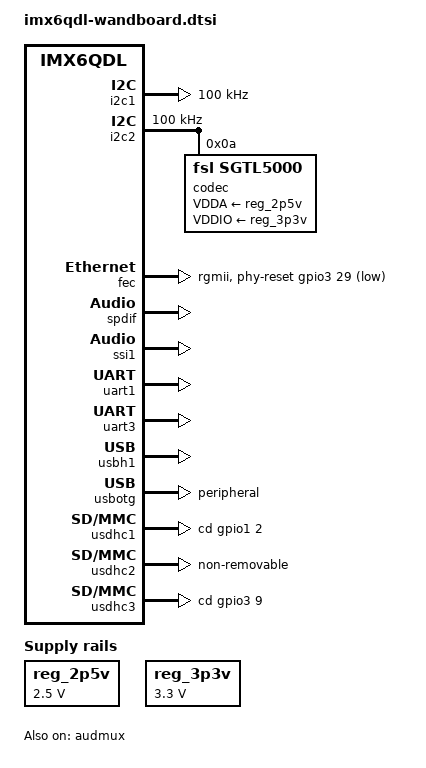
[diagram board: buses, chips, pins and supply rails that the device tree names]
/*
 * Copyright 2013 Freescale Semiconductor, Inc.
 *
 * Author: Fabio Estevam <fabio.estevam@freescale.com>
 *
 * This program is free software; you can redistribute it and/or modify
 * it under the terms of the GNU General Public License version 2 as
 * published by the Free Software Foundation.
 *
 */

/ {
	regulators {
		compatible = "simple-bus";

		reg_2p5v: 2p5v {
			compatible = "regulator-fixed";
			regulator-name = "2P5V";
			regulator-min-microvolt = <2500000>;
			regulator-max-microvolt = <2500000>;
			regulator-always-on;
		};

		reg_3p3v: 3p3v {
			compatible = "regulator-fixed";
			regulator-name = "3P3V";
			regulator-min-microvolt = <3300000>;
			regulator-max-microvolt = <3300000>;
			regulator-always-on;
		};
	};

	sound {
		compatible = "fsl,imx6-wandboard-sgtl5000",
			     "fsl,imx-audio-sgtl5000";
		model = "imx6-wandboard-sgtl5000";
		ssi-controller = <&ssi1>;
		audio-codec = <&codec>;
		audio-routing =
			"MIC_IN", "Mic Jack",
			"Mic Jack", "Mic Bias",
			"Headphone Jack", "HP_OUT";
		mux-int-port = <1>;
		mux-ext-port = <3>;
	};

	sound-spdif {
		compatible = "fsl,imx-audio-spdif";
		model = "imx-spdif";
		spdif-controller = <&spdif>;
		spdif-out;
	};
};

&audmux {
	pinctrl-names = "default";
	pinctrl-0 = <&pinctrl_audmux_2>;
	status = "okay";
};

&i2c1 {
	clock-frequency = <100000>;
	pinctrl-names = "default";
	pinctrl-0 = <&pinctrl_i2c1_1>;
	status = "okay";
};

&i2c2 {
	clock-frequency = <100000>;
	pinctrl-names = "default";
	pinctrl-0 = <&pinctrl_i2c2_2>;
	status = "okay";

	codec: sgtl5000@0a {
		compatible = "fsl,sgtl5000";
		reg = <0x0a>;
		clocks = <&clks 201>;
		VDDA-supply = <&reg_2p5v>;
		VDDIO-supply = <&reg_3p3v>;
	};
};

&iomuxc {
	pinctrl-names = "default";
	pinctrl-0 = <&pinctrl_hog>;

	hog {
		pinctrl_hog: hoggrp {
			fsl,pins = <
				MX6QDL_PAD_GPIO_0__CCM_CLKO1 	 0x130b0
				MX6QDL_PAD_GPIO_2__GPIO1_IO02	 0x80000000
				MX6QDL_PAD_EIM_DA9__GPIO3_IO09	 0x80000000
				MX6QDL_PAD_EIM_EB1__GPIO2_IO29   0x80000000 /* WL_REF_ON */
				MX6QDL_PAD_EIM_A25__GPIO5_IO02   0x80000000 /* WL_RST_N */
				MX6QDL_PAD_ENET_RXD1__GPIO1_IO26 0x80000000 /* WL_REG_ON */
				MX6QDL_PAD_ENET_TXD1__GPIO1_IO29 0x80000000 /* WL_HOST_WAKE */
				MX6QDL_PAD_ENET_TXD0__GPIO1_IO30 0x80000000 /* WL_WAKE */
				MX6QDL_PAD_EIM_D29__GPIO3_IO29   0x80000000
				MX6QDL_PAD_EIM_DA13__GPIO3_IO13  0x80000000 /* BT_ON */
				MX6QDL_PAD_EIM_DA14__GPIO3_IO14  0x80000000 /* BT_WAKE */
				MX6QDL_PAD_EIM_DA15__GPIO3_IO15  0x80000000 /* BT_HOST_WAKE */
			>;
		};
	};

	gpio {
		pinctrl_gpio: gpiogrp {
			fsl,pins = <
				MX6QDL_PAD_EIM_DA12__GPIO3_IO12   0x80000000 /* GPIO3_12 EDM pin 255 */
				MX6QDL_PAD_EIM_DA11__GPIO3_IO11   0x80000000 /* GPIO3_11 EDM pin 256 */
				MX6QDL_PAD_EIM_DA10__GPIO3_IO10   0x80000000 /* GPIO3_10 EDM pin 257 */
				MX6QDL_PAD_EIM_D27__GPIO3_IO27    0x80000000 /* GPIO3_27 EDM pin 258 */
				MX6QDL_PAD_EIM_D26__GPIO3_IO26    0x80000000 /* GPIO3_26 EDM pin 259 */
				MX6QDL_PAD_EIM_BCLK__GPIO6_IO31   0x80000000 /* GPIO6_31 EDM pin 260 */
				MX6QDL_PAD_EIM_DA8__GPIO3_IO08    0x80000000 /* GPIO3_8  EDM pin 261 */
				MX6QDL_PAD_ENET_RX_ER__GPIO1_IO24 0x80000000 /* GPIO1_24 EDM pin 262 */
				MX6QDL_PAD_GPIO_19__GPIO4_IO05    0x80000000 /* GPIO4_5  EDM pin 263 */
				MX6QDL_PAD_SD3_RST__GPIO7_IO08    0x80000000 /* GPIO7_8  EDM pin 264 */
			>;
		};
	};
};

&fec {
	pinctrl-names = "default";
	pinctrl-0 = <&pinctrl_enet_1>;
	phy-mode = "rgmii";
	phy-reset-gpios = <&gpio3 29 0>;
	status = "okay";
};

&spdif {
	pinctrl-names = "default";
	pinctrl-0 = <&pinctrl_spdif_3>;
	status = "okay";
};

&ssi1 {
	fsl,mode = "i2s-slave";
	status = "okay";
};

&uart1 {
	pinctrl-names = "default";
	pinctrl-0 = <&pinctrl_uart1_1>;
	status = "okay";
};

&uart3 {
	pinctrl-names = "default";
	pinctrl-0 = <&pinctrl_uart3_2>;
	fsl,uart-has-rtscts;
	status = "okay";
};

&usbh1 {
	status = "okay";
};

&usbotg {
	pinctrl-names = "default";
	pinctrl-0 = <&pinctrl_usbotg_1>;
	disable-over-current;
	dr_mode = "peripheral";
	status = "okay";
};

&usdhc1 {
	pinctrl-names = "default";
	pinctrl-0 = <&pinctrl_usdhc1_2>;
	cd-gpios = <&gpio1 2 0>;
	status = "okay";
};

&usdhc2 {
	pinctrl-names = "default";
	pinctrl-0 = <&pinctrl_usdhc2_2>;
	non-removable;
	status = "okay";
};

&usdhc3 {
	pinctrl-names = "default";
	pinctrl-0 = <&pinctrl_usdhc3_2>;
	cd-gpios = <&gpio3 9 0>;
	status = "okay";
};
